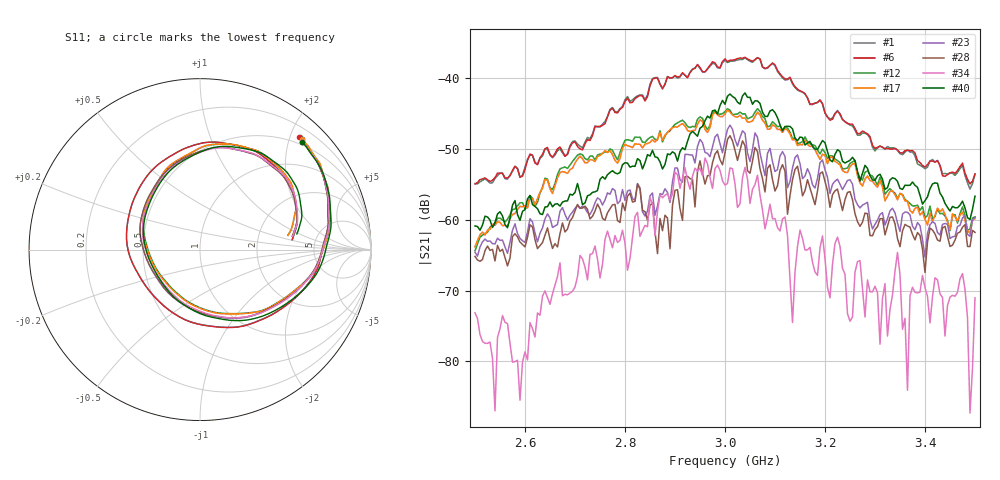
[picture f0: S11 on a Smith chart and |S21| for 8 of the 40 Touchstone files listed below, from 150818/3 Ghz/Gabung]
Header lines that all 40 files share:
# Hz S RI R 50
! CMT, C1220, 16058040, 17.2.0/1
! Data: Format (Calibration Info)
! Freq  S11: Re/Im (F2)  S21: Re/Im (F2)  S12: Re/Im (F2)  S22: Re/Im (F2)
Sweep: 2.5 GHz to 3.5 GHz
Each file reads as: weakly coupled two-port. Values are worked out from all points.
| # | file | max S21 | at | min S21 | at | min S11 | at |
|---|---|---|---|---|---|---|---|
| 1 | Sudut_0_Titik_1.s2p | -37.11 dB | 3.065 GHz | -55.7 dB | 3.49 GHz | -8.4 dB | 2.985 GHz |
| 2 | Sudut_0_Titik_3.s2p | -44.33 dB | 3.01 GHz | -66.9 dB | 2.5 GHz | -11.4 dB | 2.975 GHz |
| 3 | Sudut_0_Titik_5.s2p | -56.60 dB | 2.93 GHz | -92.2 dB | 2.635 GHz | -10.7 dB | 2.985 GHz |
| 4 | Sudut_0_Titik_7.s2p | -44.47 dB | 3.01 GHz | -64.8 dB | 2.565 GHz | -10.4 dB | 2.98 GHz |
| 5 | Sudut_0_Titik_8.s2p | -39.07 dB | 3.01 GHz | -58.4 dB | 2.51 GHz | -11.3 dB | 2.985 GHz |
| 6 | Sudut_10_Titik_1.s2p | -37.04 dB | 3.04 GHz | -54.9 dB | 2.5 GHz | -8.3 dB | 2.985 GHz |
| 7 | Sudut_10_Titik_4.s2p | -46.17 dB | 2.975 GHz | -86.8 dB | 3.47 GHz | -8.5 dB | 2.985 GHz |
| 8 | Sudut_10_Titik_5.s2p | -55.69 dB | 2.93 GHz | -89.7 dB | 3.3 GHz | -10.7 dB | 2.985 GHz |
| 9 | Sudut_10_Titik_7.s2p | -44.56 dB | 3.01 GHz | -64.5 dB | 2.565 GHz | -10.4 dB | 2.98 GHz |
| 10 | Sudut_10_Titik_8.s2p | -39.69 dB | 3.01 GHz | -58.6 dB | 2.565 GHz | -11.5 dB | 2.985 GHz |
| 11 | Sudut_20_Titik_2.s2p | -35.30 dB | 3.005 GHz | -57.2 dB | 3.49 GHz | -8.7 dB | 2.99 GHz |
| 12 | Sudut_20_Titik_3.s2p | -44.30 dB | 3.005 GHz | -64.4 dB | 2.5 GHz | -11.3 dB | 2.975 GHz |
| 13 | Sudut_20_Titik_4.s2p | -46.21 dB | 2.975 GHz | -87.5 dB | 3.34 GHz | -8.6 dB | 2.985 GHz |
| 14 | Sudut_20_Titik_6.s2p | -54.17 dB | 2.96 GHz | -84.8 dB | 2.565 GHz | -10.4 dB | 2.98 GHz |
| 15 | Sudut_20_Titik_7.s2p | -46.73 dB | 3.01 GHz | -64.9 dB | 2.565 GHz | -11.2 dB | 2.98 GHz |
| 16 | Sudut_20_Titik_8.s2p | -39.78 dB | 3.01 GHz | -59.3 dB | 2.505 GHz | -11.4 dB | 2.985 GHz |
| 17 | Sudut_30_Titik_3.s2p | -44.49 dB | 3.005 GHz | -63.8 dB | 2.5 GHz | -11.1 dB | 2.975 GHz |
| 18 | Sudut_30_Titik_5.s2p | -57.32 dB | 2.93 GHz | -89.2 dB | 2.72 GHz | -10.6 dB | 2.985 GHz |
| 19 | Sudut_30_Titik_6.s2p | -54.39 dB | 2.96 GHz | -85.7 dB | 2.565 GHz | -10.4 dB | 2.98 GHz |
| 20 | Sudut_30_Titik_7.s2p | -45.64 dB | 3.01 GHz | -64.7 dB | 2.505 GHz | -10.4 dB | 2.98 GHz |
| 21 | Sudut_30_Titik_8.s2p | -40.73 dB | 3.01 GHz | -59.9 dB | 2.5 GHz | -11.3 dB | 2.985 GHz |
| 22 | Sudut_40_Titik_2.s2p | -35.76 dB | 3.01 GHz | -58.9 dB | 2.65 GHz | -8.5 dB | 2.99 GHz |
| 23 | Sudut_40_Titik_7.s2p | -46.64 dB | 3.01 GHz | -65.3 dB | 3.4 GHz | -10.4 dB | 2.98 GHz |
| 24 | Sudut_40_Titik_9.s2p | -36.91 dB | 3.04 GHz | -55.7 dB | 3.49 GHz | -8.3 dB | 2.985 GHz |
| 25 | Sudut_50_Titik_2.s2p | -36.42 dB | 2.98 GHz | -61.3 dB | 2.67 GHz | -8.5 dB | 2.99 GHz |
| 26 | Sudut_50_Titik_8.s2p | -40.99 dB | 3.01 GHz | -62.4 dB | 2.51 GHz | -11.2 dB | 2.985 GHz |
| 27 | Sudut_50_Titik_9.s2p | -37.06 dB | 3.04 GHz | -55.9 dB | 2.5 GHz | -8.3 dB | 2.985 GHz |
| 28 | Sudut_60_Titik_7.s2p | -48.12 dB | 3.01 GHz | -67.5 dB | 3.4 GHz | -10.4 dB | 2.98 GHz |
| 29 | Sudut_70_Titik_3.s2p | -47.71 dB | 2.92 GHz | -68.6 dB | 3.45 GHz | -11.1 dB | 2.975 GHz |
| 30 | Sudut_70_Titik_4.s2p | -47.43 dB | 2.99 GHz | -75.1 dB | 3.485 GHz | -8.7 dB | 2.985 GHz |
| 31 | Sudut_70_Titik_6.s2p | -51.56 dB | 2.96 GHz | -100.3 dB | 2.59 GHz | -10.7 dB | 2.98 GHz |
| 32 | Sudut_80_Titik_2.s2p | -38.30 dB | 3.01 GHz | -64.7 dB | 3.46 GHz | -8.5 dB | 2.99 GHz |
| 33 | Sudut_80_Titik_3.s2p | -48.32 dB | 2.92 GHz | -69.6 dB | 2.5 GHz | -11.3 dB | 2.975 GHz |
| 34 | Sudut_80_Titik_6.s2p | -51.29 dB | 2.96 GHz | -87.3 dB | 3.49 GHz | -10.8 dB | 2.98 GHz |
| 35 | Sudut_80_Titik_7.s2p | -51.43 dB | 3.06 GHz | -73.5 dB | 2.895 GHz | -10.4 dB | 2.98 GHz |
| 36 | Sudut_80_Titik_8.s2p | -42.31 dB | 3.04 GHz | -62.1 dB | 2.565 GHz | -10.7 dB | 2.985 GHz |
| 37 | Sudut_90_Titik_3.s2p | -48.86 dB | 2.92 GHz | -70.2 dB | 3.45 GHz | -11.4 dB | 2.975 GHz |
| 38 | Sudut_90_Titik_4.s2p | -48.65 dB | 3.01 GHz | -75.7 dB | 2.57 GHz | -8.4 dB | 2.985 GHz |
| 39 | Sudut_90_Titik_5.s2p | -53.38 dB | 2.9 GHz | -76.3 dB | 3.215 GHz | -11.0 dB | 2.985 GHz |
| 40 | Sudut_90_Titik_8.s2p | -42.08 dB | 3.04 GHz | -61.5 dB | 2.51 GHz | -10.7 dB | 2.985 GHz |
